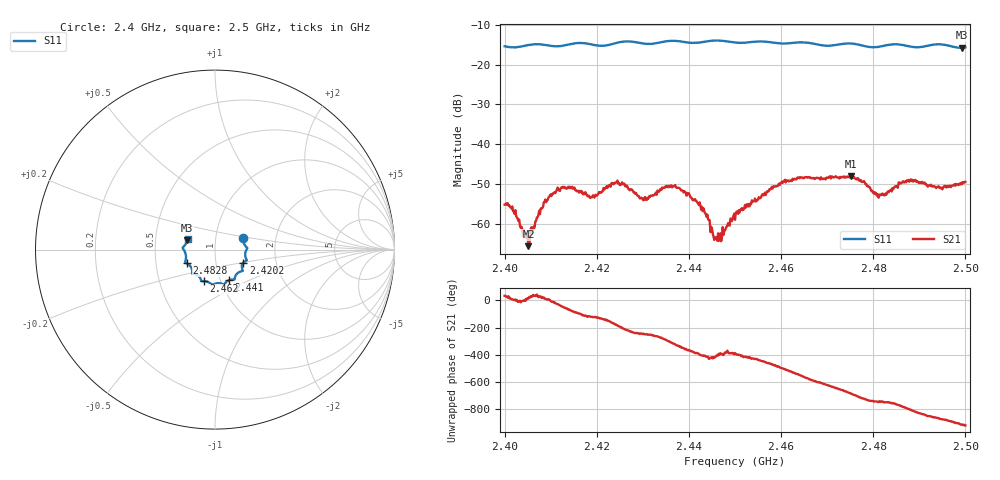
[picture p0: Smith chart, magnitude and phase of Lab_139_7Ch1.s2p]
# Hz S RI R 50
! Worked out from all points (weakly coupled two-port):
!   601 points, 2.4 GHz to 2.5 GHz, reference 50 ohm
!   highest |S21| = -48.00 dB at 2.4752 GHz (marker M1); lowest = -65.6 dB at 2.4052 GHz (marker M2)
!   lowest |S11| = -15.8 dB at 2.4993 GHz (marker M3), VSWR 1.39, Z = 36.5 + j3.88 ohm
!   |S11| at or under -10 dB: start of sweep to end of sweep
!   S12 and S22 are empty: the file has one direction only
!   S11 on the Smith chart (normalised r, x): 2.4 GHz: 1.36, +0.17; 2.4202 GHz: 1.36, -0.20; 2.441 GHz: 1.10, -0.39; 2.462 GHz: 0.83, -0.30; 2.4828 GHz: 0.72, -0.11; 2.5 GHz: 0.73, +0.09
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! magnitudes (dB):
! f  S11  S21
! 2.4 GHz  -15.4  -55.2
! 2.4018 GHz  -15.7  -56.9
! 2.4052 GHz  -15.1  -65.6
! 2.4102 GHz  -15.3  -53.0
! 2.4128 GHz  -15.2  -50.9
! 2.4167 GHz  -14.6  -52.1
! 2.4202 GHz  -15.2  -52.7
! 2.4243 GHz  -14.5  -49.6
! 2.4298 GHz  -14.7  -53.6
! 2.4333 GHz  -14.5  -51.7
! 2.4367 GHz  -14.0  -50.6
! 2.441 GHz  -14.5  -54.0
! 2.446 GHz  -13.9  -63.3
! 2.45 GHz  -14.5  -59.0
! 2.462 GHz  -14.6  -49.1
! 2.4667 GHz  -14.6  -48.6
! 2.4752 GHz  -14.7  -48.0
! 2.4828 GHz  -15.1  -52.7
! 2.4833 GHz  -15.0  -52.1
! 2.4878 GHz  -15.4  -49.4
! 2.4993 GHz  -15.8  -50.0
! 2.5 GHz  -15.7  -49.5
